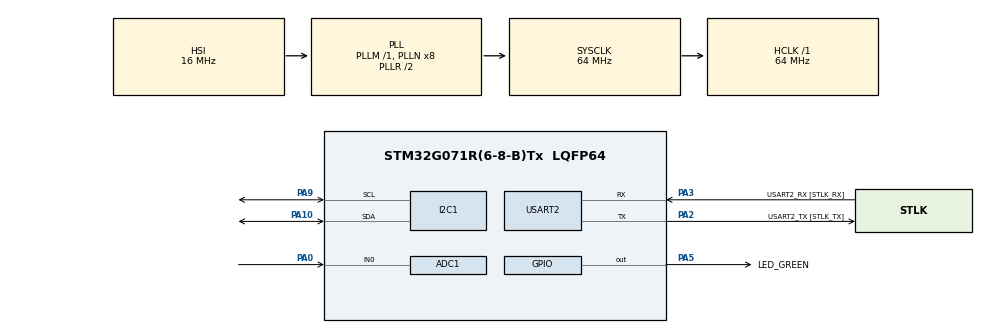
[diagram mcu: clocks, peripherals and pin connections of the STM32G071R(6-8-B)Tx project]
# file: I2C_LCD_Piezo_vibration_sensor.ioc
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ADC1.Channel-0\#ChannelRegularConversion=ADC_CHANNEL_0
ADC1.NbrOfConversionFlag=1
ADC1.Rank-0\#ChannelRegularConversion=1
ADC1.SamplingTime-0\#ChannelRegularConversion=ADC_SAMPLINGTIME_COMMON_1
ADC1.SamplingTimeCommon1=ADC_SAMPLETIME_160CYCLES_5
ADC1.SelectedChannel=ADC_CHANNEL_0
ADC1.master=1
Dma.ADC1.0.Direction=DMA_PERIPH_TO_MEMORY
Dma.ADC1.0.EventEnable=DISABLE
Dma.ADC1.0.Instance=DMA1_Channel1
Dma.ADC1.0.MemDataAlignment=DMA_MDATAALIGN_HALFWORD
Dma.ADC1.0.MemInc=DMA_MINC_ENABLE
Dma.ADC1.0.Mode=DMA_CIRCULAR
Dma.ADC1.0.PeriphDataAlignment=DMA_PDATAALIGN_HALFWORD
Dma.ADC1.0.PeriphInc=DMA_PINC_DISABLE
Dma.ADC1.0.Polarity=HAL_DMAMUX_REQ_GEN_RISING
Dma.ADC1.0.Priority=DMA_PRIORITY_VERY_HIGH
Dma.ADC1.0.RequestNumber=1
Dma.ADC1.0.SignalID=NONE
Dma.ADC1.0.SyncEnable=DISABLE
Dma.ADC1.0.SyncPolarity=HAL_DMAMUX_SYNC_NO_EVENT
Dma.ADC1.0.SyncRequestNumber=1
Dma.ADC1.0.SyncSignalID=NONE
Dma.Request0=ADC1
I2C1.Timing=0x10B17DB5
Mcu.Family=STM32G0
Mcu.Name=STM32G071R(6-8-B)Tx
Mcu.Package=LQFP64
NVIC.DMA1_Channel1_IRQn=true\:0\:0\:false\:false\:true\:false\:true\:true
PA0.Mode=IN0
PA0.Signal=ADC1_IN0
PA10.Mode=I2C
PA10.Signal=I2C1_SDA
PA13.GPIO_Label=TMS
PA13.Mode=Serial_Wire
PA13.Signal=SYS_SWDIO
PA14-BOOT0.GPIO_Label=TCK
PA14-BOOT0.Mode=Serial_Wire
PA14-BOOT0.Signal=SYS_SWCLK
PA2.GPIO_Label=USART2_TX [STLK_TX]
PA2.GPIO_PuPd=GPIO_PULLUP
PA2.Mode=Asynchronous
PA2.Signal=USART2_TX
PA3.GPIO_Label=USART2_RX [STLK_RX]
PA3.GPIO_PuPd=GPIO_PULLUP
PA3.Mode=Asynchronous
PA3.Signal=USART2_RX
PA5.GPIO_Label=LED_GREEN
PA5.GPIO_Speed=GPIO_SPEED_FREQ_HIGH
PA5.Signal=GPIO_Output
PA9.Mode=I2C
PA9.Signal=I2C1_SCL
PC13.Mode=SYS_WakeUp1
PC13.Signal=SYS_WKUP2
PC14-OSC32_IN\ (PC14).Mode=LSE-External-Clock-Source
PC14-OSC32_IN\ (PC14).Signal=RCC_OSC32_IN
PC15-OSC32_OUT\ (PC15).Signal=RCC_OSC32_OUT
PF0-OSC_IN\ (PF0).GPIO_Label=MCO
PF0-OSC_IN\ (PF0).Mode=HSE-External-Clock-Source
PF0-OSC_IN\ (PF0).Signal=RCC_OSC_IN
ProjectManager.HeapSize=0x200
ProjectManager.StackSize=0x400
ProjectManager.TargetToolchain=STM32CubeIDE
RCC.ADCFreq_Value=64000000
RCC.AHBFreq_Value=64000000
RCC.CortexFreq_Value=64000000
RCC.EXTERNAL_CLOCK_VALUE=12288000
RCC.HCLKFreq_Value=64000000
RCC.HSE_VALUE=8000000
RCC.HSI_VALUE=16000000
RCC.SYSCLKFreq_VALUE=64000000
RCC.SYSCLKSource=RCC_SYSCLKSOURCE_PLLCLK
RCC.VCOOutputFreq_Value=128000000
USART2.VirtualMode-Asynchronous=VM_ASYNC
board=NUCLEO-G071RB

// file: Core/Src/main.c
/* USER CODE BEGIN Header */
/**
  ******************************************************************************
  * @file           : main.c
  * @brief          : Main program body
  ******************************************************************************
  * @attention
  *
  * Copyright (c) 2026 STMicroelectronics.
  * All rights reserved.
  *
  * This software is licensed under terms that can be found in the LICENSE file
  * in the root directory of this software component.
  * If no LICENSE file comes with this software, it is provided AS-IS.
  *
  ******************************************************************************
  */
/* USER CODE END Header */
#include "main.h"

/* USER CODE BEGIN Includes */
#include "I2C_LCD.h"
#include "stdio.h"
/* USER CODE END Includes */

/* USER CODE BEGIN PTD */
#define my_lcd I2C_LCD_1
/* USER CODE END PTD */

ADC_HandleTypeDef hadc1;
DMA_HandleTypeDef hdma_adc1;

I2C_HandleTypeDef hi2c1;

UART_HandleTypeDef huart2;

void SystemClock_Config(void);
static void MX_GPIO_Init(void);
static void MX_DMA_Init(void);
static void MX_USART2_UART_Init(void);
static void MX_I2C1_Init(void);
static void MX_ADC1_Init(void);

/* USER CODE BEGIN 0 */
uint32_t pressure=0;
char pressure_arr[100]={'\0'};
uint32_t adc_val=0;
uint32_t last_time=0;
volatile int flag=0;
/* USER CODE END 0 */

int main(void)
{

  /* MCU Configuration--------------------------------------------------------*/

  /* Reset of all peripherals, Initializes the Flash interface and the Systick. */
  HAL_Init();

  /* Configure the system clock */
  SystemClock_Config();

  /* Initialize all configured peripherals */
  MX_GPIO_Init();
  MX_DMA_Init();
  MX_USART2_UART_Init();
  MX_I2C1_Init();
  MX_ADC1_Init();
  /* USER CODE BEGIN 2 */

  I2C_LCD_Init(my_lcd);
  I2C_LCD_SetCursor(my_lcd,0,0);
  I2C_LCD_WriteString(my_lcd,"Initializing..");
  HAL_Delay(5000); // for good measure
  I2C_LCD_Clear(my_lcd);
  I2C_LCD_SetCursor(my_lcd,0,0);
  I2C_LCD_WriteString(my_lcd,"Initialized");
  HAL_Delay(1000);
  I2C_LCD_Clear(my_lcd);

  /* USER CODE END 2 */

  /* Infinite loop */
  /* USER CODE BEGIN WHILE */
  while (1)
  {

		  HAL_ADC_Start_DMA(&hadc1,&adc_val, 1);

	  if(flag==1){
		sprintf(pressure_arr,"Pressure=%ld    ",pressure);

		  I2C_LCD_SetCursor(my_lcd,0,0);
		  I2C_LCD_WriteString(my_lcd,pressure_arr);
		  flag=0;
	  }

    /* USER CODE END WHILE */

  }
}

void SystemClock_Config(void)
{
  RCC_OscInitTypeDef RCC_OscInitStruct = {0};
  RCC_ClkInitTypeDef RCC_ClkInitStruct = {0};

  /** Configure the main internal regulator output voltage
  */
  HAL_PWREx_ControlVoltageScaling(PWR_REGULATOR_VOLTAGE_SCALE1);

  /** Initializes the RCC Oscillators according to the specified parameters
  * in the RCC_OscInitTypeDef structure.
  */
  RCC_OscInitStruct.OscillatorType = RCC_OSCILLATORTYPE_HSI;
  RCC_OscInitStruct.HSIState = RCC_HSI_ON;
  RCC_OscInitStruct.HSIDiv = RCC_HSI_DIV1;
  RCC_OscInitStruct.HSICalibrationValue = RCC_HSICALIBRATION_DEFAULT;
  RCC_OscInitStruct.PLL.PLLState = RCC_PLL_ON;
  RCC_OscInitStruct.PLL.PLLSource = RCC_PLLSOURCE_HSI;
  RCC_OscInitStruct.PLL.PLLM = RCC_PLLM_DIV1;
  RCC_OscInitStruct.PLL.PLLN = 8;
  RCC_OscInitStruct.PLL.PLLP = RCC_PLLP_DIV2;
  RCC_OscInitStruct.PLL.PLLQ = RCC_PLLQ_DIV2;
  RCC_OscInitStruct.PLL.PLLR = RCC_PLLR_DIV2;
  if (HAL_RCC_OscConfig(&RCC_OscInitStruct) != HAL_OK)
  {
    Error_Handler();
  }

  /** Initializes the CPU, AHB and APB buses clocks
  */
  RCC_ClkInitStruct.ClockType = RCC_CLOCKTYPE_HCLK|RCC_CLOCKTYPE_SYSCLK
                              |RCC_CLOCKTYPE_PCLK1;
  RCC_ClkInitStruct.SYSCLKSource = RCC_SYSCLKSOURCE_PLLCLK;
  RCC_ClkInitStruct.AHBCLKDivider = RCC_SYSCLK_DIV1;
  RCC_ClkInitStruct.APB1CLKDivider = RCC_HCLK_DIV1;

  if (HAL_RCC_ClockConfig(&RCC_ClkInitStruct, FLASH_LATENCY_2) != HAL_OK)
  {
    Error_Handler();
  }
}

static void MX_ADC1_Init(void)
{

  ADC_ChannelConfTypeDef sConfig = {0};

  /** Configure the global features of the ADC (Clock, Resolution, Data Alignment and number of conversion)
  */
  hadc1.Instance = ADC1;
  hadc1.Init.ClockPrescaler = ADC_CLOCK_SYNC_PCLK_DIV2;
  hadc1.Init.Resolution = ADC_RESOLUTION_12B;
  hadc1.Init.DataAlign = ADC_DATAALIGN_RIGHT;
  hadc1.Init.ScanConvMode = ADC_SCAN_DISABLE;
  hadc1.Init.EOCSelection = ADC_EOC_SINGLE_CONV;
  hadc1.Init.LowPowerAutoWait = DISABLE;
  hadc1.Init.LowPowerAutoPowerOff = DISABLE;
  hadc1.Init.ContinuousConvMode = DISABLE;
  hadc1.Init.NbrOfConversion = 1;
  hadc1.Init.DiscontinuousConvMode = DISABLE;
  hadc1.Init.ExternalTrigConv = ADC_SOFTWARE_START;
  hadc1.Init.ExternalTrigConvEdge = ADC_EXTERNALTRIGCONVEDGE_NONE;
  hadc1.Init.DMAContinuousRequests = DISABLE;
  hadc1.Init.Overrun = ADC_OVR_DATA_PRESERVED;
  hadc1.Init.SamplingTimeCommon1 = ADC_SAMPLETIME_160CYCLES_5;
  hadc1.Init.SamplingTimeCommon2 = ADC_SAMPLETIME_1CYCLE_5;
  hadc1.Init.OversamplingMode = DISABLE;
  hadc1.Init.TriggerFrequencyMode = ADC_TRIGGER_FREQ_HIGH;
  if (HAL_ADC_Init(&hadc1) != HAL_OK)
  {
    Error_Handler();
  }

  /** Configure Regular Channel
  */
  sConfig.Channel = ADC_CHANNEL_0;
  sConfig.Rank = ADC_REGULAR_RANK_1;
  sConfig.SamplingTime = ADC_SAMPLINGTIME_COMMON_1;
  if (HAL_ADC_ConfigChannel(&hadc1, &sConfig) != HAL_OK)
  {
    Error_Handler();
  }

}

static void MX_I2C1_Init(void)
{

  hi2c1.Instance = I2C1;
  hi2c1.Init.Timing = 0x10B17DB5;
  hi2c1.Init.OwnAddress1 = 0;
  hi2c1.Init.AddressingMode = I2C_ADDRESSINGMODE_7BIT;
  hi2c1.Init.DualAddressMode = I2C_DUALADDRESS_DISABLE;
  hi2c1.Init.OwnAddress2 = 0;
  hi2c1.Init.OwnAddress2Masks = I2C_OA2_NOMASK;
  hi2c1.Init.GeneralCallMode = I2C_GENERALCALL_DISABLE;
  hi2c1.Init.NoStretchMode = I2C_NOSTRETCH_DISABLE;
  if (HAL_I2C_Init(&hi2c1) != HAL_OK)
  {
    Error_Handler();
  }

  /** Configure Analogue filter
  */
  if (HAL_I2CEx_ConfigAnalogFilter(&hi2c1, I2C_ANALOGFILTER_ENABLE) != HAL_OK)
  {
    Error_Handler();
  }

  /** Configure Digital filter
  */
  if (HAL_I2CEx_ConfigDigitalFilter(&hi2c1, 0) != HAL_OK)
  {
    Error_Handler();
  }

}

static void MX_USART2_UART_Init(void)
{

  huart2.Instance = USART2;
  huart2.Init.BaudRate = 115200;
  huart2.Init.WordLength = UART_WORDLENGTH_8B;
  huart2.Init.StopBits = UART_STOPBITS_1;
  huart2.Init.Parity = UART_PARITY_NONE;
  huart2.Init.Mode = UART_MODE_TX_RX;
  huart2.Init.HwFlowCtl = UART_HWCONTROL_NONE;
  huart2.Init.OverSampling = UART_OVERSAMPLING_16;
  huart2.Init.OneBitSampling = UART_ONE_BIT_SAMPLE_DISABLE;
  huart2.Init.ClockPrescaler = UART_PRESCALER_DIV1;
  huart2.AdvancedInit.AdvFeatureInit = UART_ADVFEATURE_NO_INIT;
  if (HAL_UART_Init(&huart2) != HAL_OK)
  {
    Error_Handler();
  }
  if (HAL_UARTEx_SetTxFifoThreshold(&huart2, UART_TXFIFO_THRESHOLD_1_8) != HAL_OK)
  {
    Error_Handler();
  }
  if (HAL_UARTEx_SetRxFifoThreshold(&huart2, UART_RXFIFO_THRESHOLD_1_8) != HAL_OK)
  {
    Error_Handler();
  }
  if (HAL_UARTEx_DisableFifoMode(&huart2) != HAL_OK)
  {
    Error_Handler();
  }

}

static void MX_DMA_Init(void)
{

  /* DMA controller clock enable */
  __HAL_RCC_DMA1_CLK_ENABLE();

  /* DMA interrupt init */
  /* DMA1_Channel1_IRQn interrupt configuration */
  HAL_NVIC_SetPriority(DMA1_Channel1_IRQn, 0, 0);
  HAL_NVIC_EnableIRQ(DMA1_Channel1_IRQn);

}

static void MX_GPIO_Init(void)
{
  GPIO_InitTypeDef GPIO_InitStruct = {0};

  /* GPIO Ports Clock Enable */
  __HAL_RCC_GPIOC_CLK_ENABLE();
  __HAL_RCC_GPIOF_CLK_ENABLE();
  __HAL_RCC_GPIOA_CLK_ENABLE();

  /*Configure GPIO pin Output Level */
  HAL_GPIO_WritePin(LED_GREEN_GPIO_Port, LED_GREEN_Pin, GPIO_PIN_RESET);

  /*Configure GPIO pin : LED_GREEN_Pin */
  GPIO_InitStruct.Pin = LED_GREEN_Pin;
  GPIO_InitStruct.Mode = GPIO_MODE_OUTPUT_PP;
  GPIO_InitStruct.Pull = GPIO_NOPULL;
  GPIO_InitStruct.Speed = GPIO_SPEED_FREQ_HIGH;
  HAL_GPIO_Init(LED_GREEN_GPIO_Port, &GPIO_InitStruct);

}

/* USER CODE BEGIN 4 */
void HAL_ADC_ConvCpltCallback(ADC_HandleTypeDef *hadc){

	pressure=adc_val;
	flag=1;

}
/* USER CODE END 4 */

void Error_Handler(void)
{
  __disable_irq();
  while (1)
  {
  }
}
